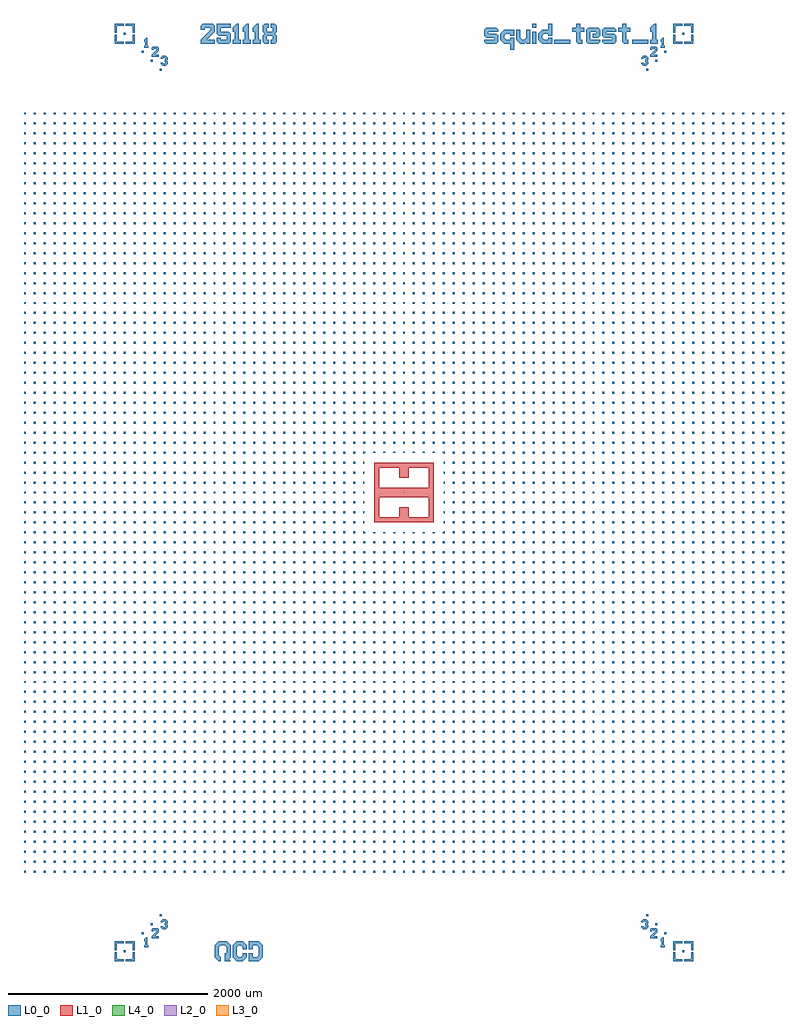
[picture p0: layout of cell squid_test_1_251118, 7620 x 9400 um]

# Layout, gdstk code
import gdstk
lib = gdstk.Library(unit=1e-6, precision=1e-09)
def R(c, l, rs):  # rectangles x0, y0, x1, y1
    for r in rs: c.add(gdstk.rectangle(r[:2], r[2:], *l))
def A(c, l, x, y, w, h, nx, ny, dx, dy):  # array of equal rectangles
    R(c, l, [(x+i*dx, y+j*dy, x+i*dx+w, y+j*dy+h) for i in range(nx) for j in range(ny)])
def P(c, l, *ps):  # polygons
    for p in ps: c.add(gdstk.Polygon(p, *l))
L0_0 = (0, 0)
L1_0 = (1, 0)
L2_0 = (2, 0)
L3_0 = (3, 0)
L4_0 = (4, 0)

remarks = lib.new_cell('remarks')
R(remarks, L0_0, [(-2810,-4610,-2790,-4590), (2790,-4610,2810,-4590), (-2630,-4430,-2610,-4410), (2610,-4430,2630,-4410), (-2540,-4340,-2520,-4320), (2520,-4340,2540,-4320), (-2450,-4250,-2430,-4230), (2430,-4250,2450,-4230), (-2450,4230,-2430,4250), (2430,4230,2450,4250), (-2540,4320,-2520,4340), (2520,4320,2540,4340), (-2630,4410,-2610,4430), (2610,4410,2630,4430), (1286.667,4500,1326.667,4620), (1506.667,4500,1666.667,4540), (2286.667,4500,2446.667,4540), (-2810,4590,-2790,4610), (2790,4590,2810,4610), (1286.667,4660,1326.667,4700)])
P(remarks, L0_0, [(826.667,4500),(806.667,4520),(806.667,4540),(906.667,4540),(906.667,4560),(826.667,4560),(806.667,4580),(806.667,4640),(826.667,4660),(926.667,4660),(946.667,4640),(946.667,4620),(846.667,4620),(846.667,4600),(926.667,4600),(946.667,4580),(946.667,4520),(926.667,4500)],
  [(1066.667,4440),(1066.667,4500),(1006.667,4500),(966.667,4540),(966.667,4600),(1006.667,4640),(1106.667,4640),(1106.667,4580),(1066.667,4580),(1066.667,4600),(1026.667,4600),(1006.667,4580),(1006.667,4560),(1026.667,4540),(1066.667,4540),(1066.667,4560),(1106.667,4560),(1106.667,4440)],
  [(1166.667,4500),(1126.667,4540),(1126.667,4640),(1166.667,4640),(1166.667,4560),(1186.667,4540),(1206.667,4540),(1226.667,4560),(1226.667,4640),(1266.667,4640),(1266.667,4500),(1226.667,4500),(1226.667,4520),(1206.667,4500)],
  [(1386.667,4500),(1346.667,4540),(1346.667,4600),(1386.667,4640),(1446.667,4640),(1446.667,4700),(1486.667,4700),(1486.667,4580),(1446.667,4580),(1446.667,4600),(1406.667,4600),(1386.667,4580),(1386.667,4560),(1406.667,4540),(1446.667,4540),(1446.667,4560),(1486.667,4560),(1486.667,4500)],
  [(1746.667,4500),(1726.667,4520),(1726.667,4620),(1686.667,4620),(1686.667,4660),(1726.667,4660),(1726.667,4700),(1766.667,4700),(1766.667,4660),(1806.667,4660),(1806.667,4620),(1766.667,4620),(1766.667,4540),(1786.667,4540),(1786.667,4500)],
  [(1846.667,4500),(1826.667,4520),(1826.667,4640),(1846.667,4660),(1946.667,4660),(1966.667,4640),(1966.667,4580),(1946.667,4560),(1894.667,4560),(1894.667,4600),(1926.667,4600),(1926.667,4620),(1866.667,4620),(1866.667,4540),(1966.667,4540),(1966.667,4520),(1946.667,4500)],
  [(2006.667,4500),(1986.667,4520),(1986.667,4540),(2086.667,4540),(2086.667,4560),(2006.667,4560),(1986.667,4580),(1986.667,4640),(2006.667,4660),(2106.667,4660),(2126.667,4640),(2126.667,4620),(2026.667,4620),(2026.667,4600),(2106.667,4600),(2126.667,4580),(2126.667,4520),(2106.667,4500)],
  [(2206.667,4500),(2186.667,4520),(2186.667,4620),(2146.667,4620),(2146.667,4660),(2186.667,4660),(2186.667,4700),(2226.667,4700),(2226.667,4660),(2266.667,4660),(2266.667,4620),(2226.667,4620),(2226.667,4540),(2246.667,4540),(2246.667,4500)],
  [(2466.667,4500),(2466.667,4540),(2486.667,4540),(2486.667,4620),(2466.667,4620),(2466.667,4660),(2506.667,4700),(2526.667,4700),(2526.667,4540),(2546.667,4540),(2546.667,4500)],
  [(-2036.667,4500),(-2036.667,4540),(-1936.667,4640),(-1936.667,4660),(-1996.667,4660),(-1996.667,4640),(-2036.667,4640),(-2036.667,4680),(-2016.667,4700),(-1916.667,4700),(-1896.667,4680),(-1896.667,4620),(-1976.667,4540),(-1896.667,4540),(-1896.667,4500)],
  [(-1856.667,4500),(-1876.667,4520),(-1876.667,4560),(-1836.667,4560),(-1836.667,4540),(-1776.667,4540),(-1776.667,4580),(-1856.667,4580),(-1876.667,4600),(-1876.667,4700),(-1736.667,4700),(-1736.667,4660),(-1836.667,4660),(-1836.667,4620),(-1756.667,4620),(-1736.667,4600),(-1736.667,4520),(-1756.667,4500)],
  [(-1716.667,4500),(-1716.667,4540),(-1696.667,4540),(-1696.667,4620),(-1716.667,4620),(-1716.667,4660),(-1676.667,4700),(-1656.667,4700),(-1656.667,4540),(-1636.667,4540),(-1636.667,4500)],
  [(-1616.667,4500),(-1616.667,4540),(-1596.667,4540),(-1596.667,4620),(-1616.667,4620),(-1616.667,4660),(-1576.667,4700),(-1556.667,4700),(-1556.667,4540),(-1536.667,4540),(-1536.667,4500)],
  [(-1516.667,4500),(-1516.667,4540),(-1496.667,4540),(-1496.667,4620),(-1516.667,4620),(-1516.667,4660),(-1476.667,4700),(-1456.667,4700),(-1456.667,4540),(-1436.667,4540),(-1436.667,4500)],
  [(-1396.667,4500),(-1416.667,4520),(-1416.667,4580),(-1396.667,4600),(-1416.667,4620),(-1416.667,4680),(-1396.667,4700),(-1356.667,4700),(-1356.667,4660),(-1376.667,4660),(-1376.667,4620),(-1316.667,4620),(-1316.667,4660),(-1336.667,4660),(-1336.667,4700),(-1296.667,4700),(-1276.667,4680),(-1276.667,4620),(-1296.667,4600),(-1276.667,4580),(-1276.667,4520),(-1296.667,4500),(-1336.667,4500),(-1336.667,4540),(-1316.667,4540),(-1316.667,4580),(-1376.667,4580),(-1376.667,4540),(-1356.667,4540),(-1356.667,4500)],
  [(-1856.667,-4700),(-1896.667,-4660),(-1896.667,-4540),(-1856.667,-4500),(-1776.667,-4500),(-1736.667,-4540),(-1736.667,-4660),(-1756.667,-4680),(-1736.667,-4700),(-1796.667,-4700),(-1796.667,-4620),(-1776.667,-4620),(-1776.667,-4560),(-1796.667,-4540),(-1836.667,-4540),(-1856.667,-4560),(-1856.667,-4640),(-1836.667,-4660),(-1836.667,-4700)],
  [(-1676.667,-4700),(-1716.667,-4660),(-1716.667,-4540),(-1676.667,-4500),(-1616.667,-4500),(-1576.667,-4540),(-1576.667,-4580),(-1616.667,-4580),(-1616.667,-4560),(-1636.667,-4540),(-1656.667,-4540),(-1676.667,-4560),(-1676.667,-4640),(-1656.667,-4660),(-1636.667,-4660),(-1616.667,-4640),(-1616.667,-4620),(-1576.667,-4620),(-1576.667,-4660),(-1616.667,-4700)],
  [(-1556.667,-4700),(-1556.667,-4620),(-1516.667,-4620),(-1516.667,-4660),(-1476.667,-4660),(-1456.667,-4640),(-1456.667,-4560),(-1476.667,-4540),(-1516.667,-4540),(-1516.667,-4580),(-1556.667,-4580),(-1556.667,-4500),(-1456.667,-4500),(-1416.667,-4540),(-1416.667,-4660),(-1456.667,-4700)],
  [(-2900,-4590),(-2900,-4500),(-2810,-4500),(-2810,-4520),(-2880,-4520),(-2880,-4590)],
  [(-2900,4500),(-2900,4590),(-2880,4590),(-2880,4520),(-2810,4520),(-2810,4500)],
  [(2810,4500),(2810,4520),(2880,4520),(2880,4590),(2900,4590),(2900,4500)],
  [(2880,-4590),(2880,-4520),(2810,-4520),(2810,-4500),(2900,-4500),(2900,-4590)],
  [(-2900,-4700),(-2900,-4610),(-2880,-4610),(-2880,-4680),(-2810,-4680),(-2810,-4700)],
  [(-2900,4610),(-2900,4700),(-2810,4700),(-2810,4680),(-2880,4680),(-2880,4610)],
  [(2880,4610),(2880,4680),(2810,4680),(2810,4700),(2900,4700),(2900,4610)],
  [(2810,-4700),(2810,-4680),(2880,-4680),(2880,-4610),(2900,-4610),(2900,-4700)],
  [(-2790,-4700),(-2790,-4680),(-2720,-4680),(-2720,-4610),(-2700,-4610),(-2700,-4700)],
  [(-2720,4610),(-2720,4680),(-2790,4680),(-2790,4700),(-2700,4700),(-2700,4610)],
  [(2700,4610),(2700,4700),(2790,4700),(2790,4680),(2720,4680),(2720,4610)],
  [(2700,-4700),(2700,-4610),(2720,-4610),(2720,-4680),(2790,-4680),(2790,-4700)],
  [(-2720,-4590),(-2720,-4520),(-2790,-4520),(-2790,-4500),(-2700,-4500),(-2700,-4590)],
  [(-2790,4500),(-2790,4520),(-2720,4520),(-2720,4590),(-2700,4590),(-2700,4500)],
  [(2700,4500),(2700,4590),(2720,4590),(2720,4520),(2790,4520),(2790,4500)],
  [(2700,-4590),(2700,-4500),(2790,-4500),(2790,-4520),(2720,-4520),(2720,-4590)],
  [(-2605,-4560),(-2605,-4540),(-2595,-4540),(-2595,-4500),(-2605,-4500),(-2605,-4480),(-2585,-4460),(-2575,-4460),(-2575,-4540),(-2565,-4540),(-2565,-4560)],
  [(-2605,4460),(-2605,4480),(-2595,4480),(-2595,4520),(-2605,4520),(-2605,4540),(-2585,4560),(-2575,4560),(-2575,4480),(-2565,4480),(-2565,4460)],
  [(2575,4460),(2575,4480),(2585,4480),(2585,4520),(2575,4520),(2575,4540),(2595,4560),(2605,4560),(2605,4480),(2615,4480),(2615,4460)],
  [(2575,-4560),(2575,-4540),(2585,-4540),(2585,-4500),(2575,-4500),(2575,-4480),(2595,-4460),(2605,-4460),(2605,-4540),(2615,-4540),(2615,-4560)],
  [(-2530,-4470),(-2530,-4450),(-2480,-4400),(-2480,-4390),(-2510,-4390),(-2510,-4400),(-2530,-4400),(-2530,-4380),(-2520,-4370),(-2470,-4370),(-2460,-4380),(-2460,-4410),(-2500,-4450),(-2460,-4450),(-2460,-4470)],
  [(-2530,4370),(-2530,4390),(-2480,4440),(-2480,4450),(-2510,4450),(-2510,4440),(-2530,4440),(-2530,4460),(-2520,4470),(-2470,4470),(-2460,4460),(-2460,4430),(-2500,4390),(-2460,4390),(-2460,4370)],
  [(2470,4370),(2470,4390),(2520,4440),(2520,4450),(2490,4450),(2490,4440),(2470,4440),(2470,4460),(2480,4470),(2530,4470),(2540,4460),(2540,4430),(2500,4390),(2540,4390),(2540,4370)],
  [(2470,-4470),(2470,-4450),(2520,-4400),(2520,-4390),(2490,-4390),(2490,-4400),(2470,-4400),(2470,-4380),(2480,-4370),(2530,-4370),(2540,-4380),(2540,-4410),(2500,-4450),(2540,-4450),(2540,-4470)],
  [(-2420,-4380),(-2440,-4360),(-2440,-4350),(-2420,-4350),(-2410,-4360),(-2400,-4360),(-2390,-4350),(-2400,-4340),(-2400,-4320),(-2390,-4310),(-2400,-4300),(-2410,-4300),(-2420,-4310),(-2440,-4310),(-2440,-4300),(-2420,-4280),(-2390,-4280),(-2370,-4300),(-2370,-4320),(-2380,-4330),(-2370,-4340),(-2370,-4360),(-2390,-4380)],
  [(-2420,4280),(-2440,4300),(-2440,4310),(-2420,4310),(-2410,4300),(-2400,4300),(-2390,4310),(-2400,4320),(-2400,4340),(-2390,4350),(-2400,4360),(-2410,4360),(-2420,4350),(-2440,4350),(-2440,4360),(-2420,4380),(-2390,4380),(-2370,4360),(-2370,4340),(-2380,4330),(-2370,4320),(-2370,4300),(-2390,4280)],
  [(2400,4280),(2380,4300),(2380,4310),(2400,4310),(2410,4300),(2420,4300),(2430,4310),(2420,4320),(2420,4340),(2430,4350),(2420,4360),(2410,4360),(2400,4350),(2380,4350),(2380,4360),(2400,4380),(2430,4380),(2450,4360),(2450,4340),(2440,4330),(2450,4320),(2450,4300),(2430,4280)],
  [(2400,-4380),(2380,-4360),(2380,-4350),(2400,-4350),(2410,-4360),(2420,-4360),(2430,-4350),(2420,-4340),(2420,-4320),(2430,-4310),(2420,-4300),(2410,-4300),(2400,-4310),(2380,-4310),(2380,-4300),(2400,-4280),(2430,-4280),(2450,-4300),(2450,-4320),(2440,-4330),(2450,-4340),(2450,-4360),(2430,-4380)])

nb_inv = lib.new_cell('Nb_inv')
R(nb_inv, L1_0, [(-250,-50,-5,50), (5,-50,250,50)])
P(nb_inv, L1_0, [(-300,-300),(-300,250),(50,250),(50,150),(-50,150),(-50,250),(-250,250),(-250,-250),(-50,-250),(-50,-150),(50,-150),(50,-250),(250,-250),(250,250),(-300,250),(-300,300),(300,300),(300,-300)],
  [(-5,-5),(-5,5),(-1.5,5),(-1.5,1.3),(1.5,1.3),(1.5,5),(5,5),(5,-5),(2.4,-5),(2.4,-1.3),(-2.4,-1.3),(-2.4,-5)])

jj1 = lib.new_cell('JJ1')
R(jj1, L2_0, [(-3.1,-2.3,-2.9,2.3), (2.9,-2.3,3.1,2.3), (-4.1,0.6,4.1,0.8)])

ghost1 = lib.new_cell('Ghost1')
R(ghost1, L3_0, [(-3.2,-3.1,-2.8,-2.1), (2.8,-3.1,3.2,-2.1), (-4.9,0.5,-3.9,0.9), (3.9,0.5,4.9,0.9), (-3.2,2.1,-2.8,3.1), (2.8,2.1,3.2,3.1)])

patch = lib.new_cell('Patch')
R(patch, L4_0, [(-3.6,-2.8,-0.9,-1.3), (0.9,-2.8,3.6,-1.3), (-0.75,0.1,0.75,2.8)])

unnamed_83 = lib.new_cell('Unnamed_83')
A(unnamed_83, L0_0, -3810, -3810, 20, 20, 77, 34, 100, 100)
A(unnamed_83, L0_0, -3810, -410, 20, 20, 34, 9, 100, 100)
A(unnamed_83, L0_0, -310, -410, 20, 10, 7, 2, 100, 810)
A(unnamed_83, L0_0, 490, -410, 20, 20, 34, 9, 100, 100)
A(unnamed_83, L0_0, -410, -310, 10, 20, 1, 7, 0, 100)
A(unnamed_83, L0_0, 400, -310, 10, 20, 1, 7, 0, 100)
A(unnamed_83, L0_0, -3810, 490, 20, 20, 77, 34, 100, 100)
P(unnamed_83, L0_0, [(400,390),(400,400),(390,400),(390,410),(410,410),(410,390)],
  [(-410,390),(-410,410),(-390,410),(-390,400),(-400,400),(-400,390)],
  [(-410,-410),(-410,-390),(-400,-390),(-400,-400),(-390,-400),(-390,-410)],
  [(390,-410),(390,-400),(400,-400),(400,-390),(410,-390),(410,-410)])

squid_test_1_251118 = lib.new_cell('squid_test_1_251118')
squid_test_1_251118.add(gdstk.Reference(remarks, (0,0)))
squid_test_1_251118.add(gdstk.Reference(nb_inv, (0,0)))
squid_test_1_251118.add(gdstk.Reference(jj1, (0,0)))
squid_test_1_251118.add(gdstk.Reference(ghost1, (0,0)))
squid_test_1_251118.add(gdstk.Reference(patch, (0,0)))
squid_test_1_251118.add(gdstk.Reference(unnamed_83, (0,0)))

lib.write_gds('squid_test_1_251118.gds')
